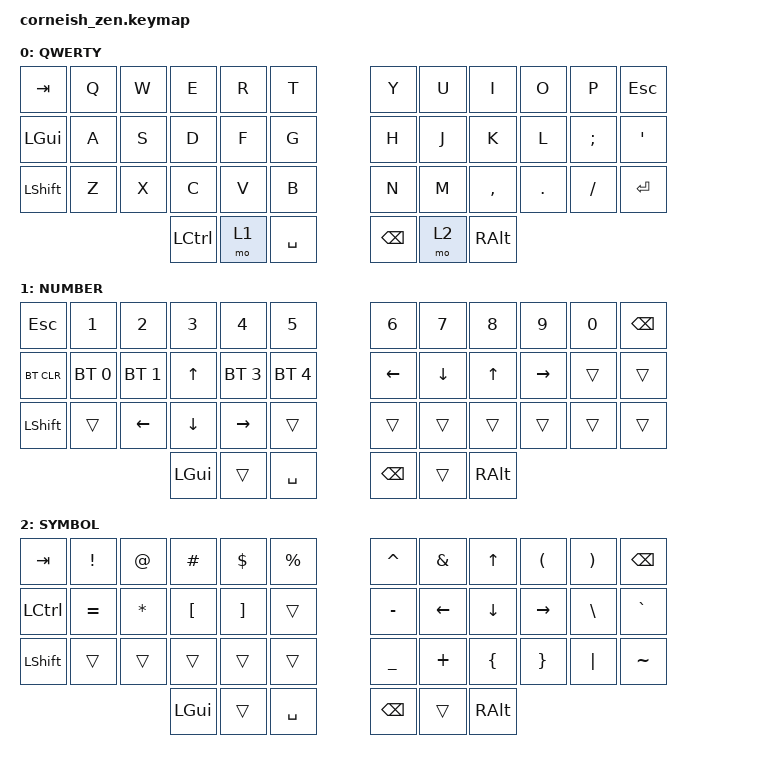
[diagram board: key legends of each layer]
#include <behaviors.dtsi>
#include <dt-bindings/zmk/bt.h>
#include <dt-bindings/zmk/keys.h>

/ {
    chosen {
        zmk,matrix_transform = &default_transform;

        //zmk,matrix_transform = &five_column_transform;
    };
};

/ {
    keymap {
        compatible = "zmk,keymap";

        default_layer {
            label = "QWERTY";

            // -----------------------------------------------------------------------------------------
            // |  TAB |  Q  |  W  |  E  |  R  |  T  |   |  Y  |  U   |  I  |  O  |  P  | ESC |
            // | GUI |  A  |  S  |  D  |  F  |  G  |   |  H  |  J   |  K  |  L  |  ;  |  '   |
            // | SHFT |  Z  |  X  |  C  |  V  |  B  |   |  N  |  M   |  ,  |  .  |  /  | ENT  |
            //                    | CTRL | LWR | SPC |   | BKSP | RSE  | ALT |

            bindings = <
&kp TAB    &kp Q  &kp W  &kp E      &kp R  &kp T        &kp Y     &kp U  &kp I      &kp O    &kp P     &kp ESC
&kp LGUI   &kp A  &kp S  &kp D      &kp F  &kp G        &kp H     &kp J  &kp K      &kp L    &kp SEMI  &kp SQT
&kp LSHFT  &kp Z  &kp X  &kp C      &kp V  &kp B        &kp N     &kp M  &kp COMMA  &kp DOT  &kp FSLH  &kp RET
                         &kp LCTRL  &mo 1  &kp SPACE    &kp BSPC  &mo 2  &kp RALT
            >;
        };

        lower_layer {
            label = "NUMBER";

            // -----------------------------------------------------------------------------------------
            // |  TAB |  1  |  2  |  3  |  4  |  5  |   |  6  |  7  |  8  |  9  |  0  | BKSP |
            // | BTCLR| BT1 | BT2 | BT3 | BT4 | BT5 |   | LFT | DWN |  UP | RGT |     |      |
            // | SHFT |     |     |     |     |     |   |     |     |     |     |     |      |
            //                    | GUI |     | SPC |   | ENT |     | ALT |

            bindings = <
&kp ESCAPE  &kp N1        &kp N2        &kp N3        &kp N4        &kp N5          &kp N6         &kp N7    &kp N8    &kp N9     &kp N0  &kp BSPC
&bt BT_CLR  &bt BT_SEL 0  &bt BT_SEL 1  &kp UP_ARROW  &bt BT_SEL 3  &bt BT_SEL 4    &kp LEFT       &kp DOWN  &kp UP    &kp RIGHT  &trans  &trans
&kp LSHFT   &trans        &kp LEFT      &kp DOWN      &kp RIGHT     &trans          &trans         &trans    &trans    &trans     &trans  &trans
                                        &kp LGUI      &trans        &kp SPACE       &kp BACKSPACE  &trans    &kp RALT
            >;
        };

        raise_layer {
            label = "SYMBOL";

            // -----------------------------------------------------------------------------------------
            // |  TAB |  !  |  @  |  #  |  $  |  %  |   |  ^  |  &  |  UP |  (  |  )  | BKSP |
            // | CTRL |  =  |  *  | [   |  ]  |     |   |  -  | LFT | DWN | RGT |  \  |  `   |
            // | SHFT |     |     |     |     |     |   |  _  |  +  |  {  |  }  | "|" |  ~   |
            //                    | GUI |     | SPC |   | ENT |     | ALT |

            bindings = <
&kp TAB    &kp EXCL   &kp AT    &kp HASH  &kp DLLR  &kp PRCNT    &kp CARET      &kp AMPS  &kp UP    &kp LPAR   &kp RPAR  &kp BSPC
&kp LCTRL  &kp EQUAL  &kp STAR  &kp LBKT  &kp RBKT  &trans       &kp MINUS      &kp LEFT  &kp DOWN  &kp RIGHT  &kp BSLH  &kp GRAVE
&kp LSHFT  &trans     &trans    &trans    &trans    &trans       &kp UNDER      &kp PLUS  &kp LBRC  &kp RBRC   &kp PIPE  &kp TILDE
                                &kp LGUI  &trans    &kp SPACE    &kp BACKSPACE  &trans    &kp RALT
            >;
        };
    };
};
